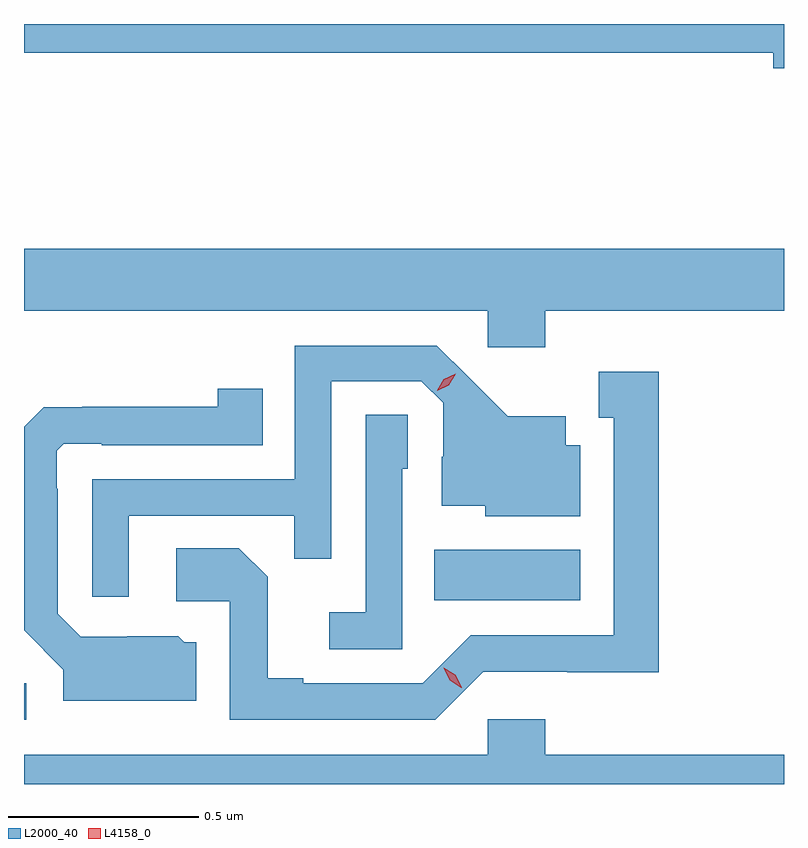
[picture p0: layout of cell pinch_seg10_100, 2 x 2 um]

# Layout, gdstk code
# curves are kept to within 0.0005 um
import gdstk
lib = gdstk.Library(unit=1e-6, precision=1e-09)
def R(c, l, rs):  # rectangles x0, y0, x1, y1
    for r in rs: c.add(gdstk.rectangle(r[:2], r[2:], *l))
def P(c, l, *ps):  # polygons
    for p in ps: c.add(gdstk.Polygon(p, *l))
L2000_40 = (2000, 40)
L4158_0 = (4158, 0)

pinch_seg10_100 = lib.new_cell('pinch_seg10_100')
R(pinch_seg10_100, L2000_40, [(719.482,1293.912,719.488,1294.008), (720.562,1294.226,720.946,1294.36)])
P(pinch_seg10_100, L2000_40, [(721.482,1295.743),(719.482,1295.743),(719.482,1295.668),(721.454,1295.668),(721.454,1295.626),(721.482,1295.626)],
  [(720.854,1294.988),(721.482,1294.988),(721.482,1295.152),(719.482,1295.152),(719.482,1294.988),(720.702,1294.988),(720.702,1294.893),(720.854,1294.893)],
  [(719.757,1294.449),(720.193,1294.449),(720.193,1294.336),(720.291,1294.336),(720.291,1294.803),(720.528,1294.803),(720.585,1294.746),(720.585,1294.604),(720.581,1294.604),(720.581,1294.475),(720.696,1294.475),(720.696,1294.448),(720.946,1294.448),(720.946,1294.635),(720.907,1294.635),(720.907,1294.711),(720.755,1294.711),(720.568,1294.896),(720.195,1294.896),(720.195,1294.545),(719.661,1294.545),(719.661,1294.236),(719.757,1294.236)],
  [(720.69,1294.038),(720.912,1294.038),(720.912,1294.037),(721.153,1294.037),(721.153,1294.828),(720.995,1294.828),(720.995,1294.707),(721.034,1294.707),(721.034,1294.134),(720.657,1294.134),(720.531,1294.008),(720.217,1294.008),(720.217,1294.021),(720.123,1294.021),(720.123,1294.288),(720.047,1294.364),(719.883,1294.364),(719.883,1294.224),(720.024,1294.224),(720.024,1293.912),(720.564,1293.912)],
  [(719.935,1294.116),(719.904,1294.116),(719.888,1294.132),(719.754,1294.132),(719.754,1294.131),(719.631,1294.131),(719.571,1294.191),(719.571,1294.52),(719.568,1294.52),(719.568,1294.62),(719.586,1294.638),(719.686,1294.638),(719.686,1294.635),(720.11,1294.635),(720.11,1294.783),(719.992,1294.783),(719.992,1294.736),(719.635,1294.736),(719.635,1294.735),(719.534,1294.735),(719.482,1294.683),(719.482,1294.147),(719.585,1294.044),(719.585,1293.962),(719.935,1293.962)],
  [(720.477,1294.572),(720.492,1294.572),(720.492,1294.715),(720.381,1294.715),(720.381,1294.195),(720.285,1294.195),(720.285,1294.098),(720.477,1294.098)],
  [(721.482,1293.82),(720.854,1293.82),(720.854,1293.913),(720.702,1293.913),(720.702,1293.82),(719.482,1293.82),(719.482,1293.743),(721.482,1293.743)])
P(pinch_seg10_100, L4158_0, [(720.633,1293.996),(720.602,1294.016),(720.586,1294.049),(720.586,1294.049),(720.586,1294.049),(720.617,1294.03),(720.634,1293.997),(720.634,1293.996)],
  [(720.569,1294.778),(720.569,1294.779),(720.587,1294.808),(720.618,1294.823),(720.618,1294.823),(720.618,1294.822),(720.6,1294.793),(720.57,1294.778)])

lib.write_gds('pinch_seg10_100.gds')
